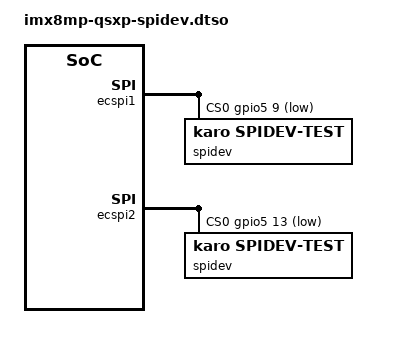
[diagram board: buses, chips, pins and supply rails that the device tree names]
// SPDX-License-Identifier: (GPL-2.0 OR BSD-3-Clause)
/*
 * Copyright (C) 2023 Lothar Waßmann <LW@KARO-electronics.de>
 */

/dts-v1/;
/plugin/;

#include <dt-bindings/gpio/gpio.h>
#include "imx8mp-pinfunc.h"

&{/} {
	aliases {
		spi0 = "/soc@0/bus@30800000/spba-bus@30800000/spi@30830000";
		spi1 = "/soc@0/bus@30800000/spba-bus@30800000/spi@30820000";
	};

	chosen {
		overlays {
			qsxp-spidev;
		};
	};
};

&ecspi1 {
	pinctrl-names = "default";
	pinctrl-0 = <&pinctrl_ecspi1 &pinctrl_ecspi1_cs>;
	cs-gpios = <&gpio5 9 GPIO_ACTIVE_LOW>;
	status = "okay";

	spidev@0 {
		reg = <0>;
		compatible = "karo,spidev-test";
	};
};

&ecspi2 {
	pinctrl-names = "default";
	pinctrl-0 = <&pinctrl_ecspi2 &pinctrl_ecspi2_cs>;
	cs-gpios = <&gpio5 13 GPIO_ACTIVE_LOW>;
	status = "okay";

	spidev@0 {
		reg = <0>;
		compatible = "karo,spidev-test";
	};
};

&iomuxc {
	pinctrl_ecspi1: ecspi1grp {
		fsl,pins = <
			MX8MP_IOMUXC_ECSPI1_MISO__ECSPI1_MISO		0x156
			MX8MP_IOMUXC_ECSPI1_MOSI__ECSPI1_MOSI		0x156
			MX8MP_IOMUXC_ECSPI1_SCLK__ECSPI1_SCLK		0x156
		>;
	};

	pinctrl_ecspi1_cs: ecspi1-csgrp {
		fsl,pins = <
			MX8MP_IOMUXC_ECSPI1_SS0__GPIO5_IO09		0x156
		>;
	};

	pinctrl_ecspi2: ecspi2grp {
		fsl,pins = <
			MX8MP_IOMUXC_ECSPI2_MISO__ECSPI2_MISO		0x156
			MX8MP_IOMUXC_ECSPI2_MOSI__ECSPI2_MOSI		0x156
			MX8MP_IOMUXC_ECSPI2_SCLK__ECSPI2_SCLK		0x156
		>;
	};

	pinctrl_ecspi2_cs: ecspi2-csgrp {
		fsl,pins = <
			MX8MP_IOMUXC_ECSPI2_SS0__GPIO5_IO13		0x156
		>;
	};
};
